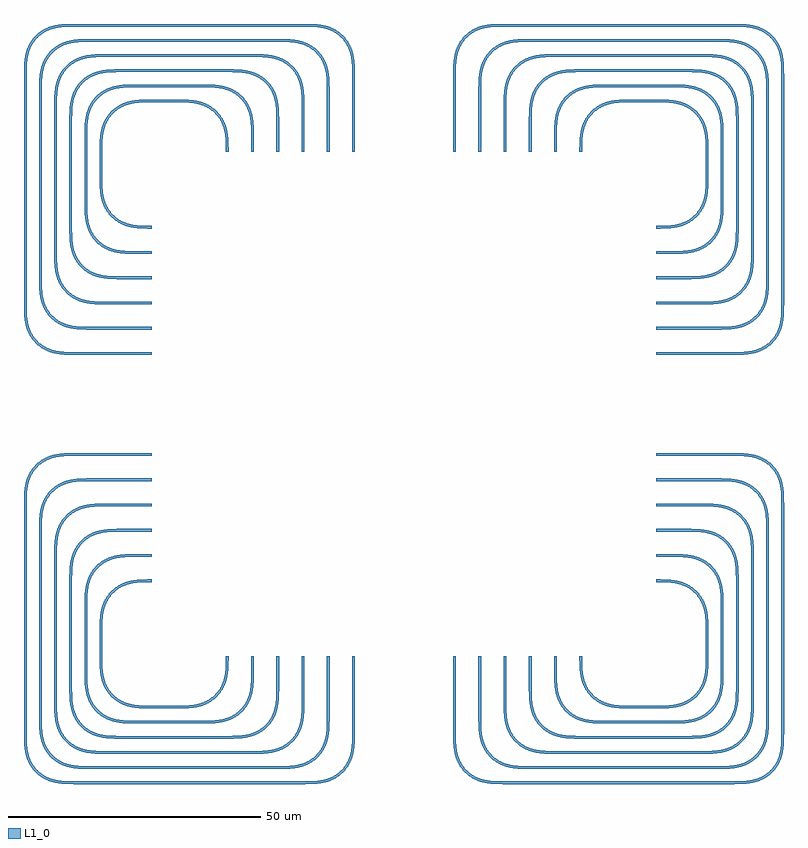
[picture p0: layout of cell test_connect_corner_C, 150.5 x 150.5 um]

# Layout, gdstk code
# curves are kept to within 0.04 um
from math import pi, radians
import gdstk
lib = gdstk.Library(unit=1e-6, precision=1e-09)
def R(c, l, rs):  # rectangles x0, y0, x1, y1
    for r in rs: c.add(gdstk.rectangle(r[:2], r[2:], *l))
def P(c, l, *ps):  # polygons
    for p in ps: c.add(gdstk.Polygon(p, *l))
L1_0 = (1, 0)

bend_euler_a459ac5d = lib.new_cell('bend_euler_a459ac5d')
P(bend_euler_a459ac5d, L1_0, [(0,-0.25),(2.795,-0.158),(3.776,-0.023),(4.746,0.203),(5.688,0.543),(6.455,0.934),(7.285,1.5),(7.928,2.072),(8.5,2.715),(9.066,3.545),(9.457,4.312),(9.797,5.254),(10.023,6.224),(10.158,7.205),(10.25,10),(9.75,10),(9.731,8.345),(9.647,7.119),(9.48,6.048),(9.194,5.01),(8.887,4.269),(8.495,3.569),(7.575,2.425),(6.431,1.505),(5.731,1.113),(4.99,0.806),(3.952,0.52),(2.881,0.353),(1.655,0.269),(0,0.25)])

straight_b69bcf2d = lib.new_cell('straight_b69bcf2d')
R(straight_b69bcf2d, L1_0, [(0,-0.25,0.01,0.25)])

straight_5d6ca0ab = lib.new_cell('straight_5d6ca0ab')
R(straight_5d6ca0ab, L1_0, [(0,-0.25,5.01,0.25)])

straight_cbee4e78 = lib.new_cell('straight_cbee4e78')
R(straight_cbee4e78, L1_0, [(0,-0.25,3,0.25)])

straight_1002eaf1 = lib.new_cell('straight_1002eaf1')
R(straight_1002eaf1, L1_0, [(0,-0.25,13,0.25)])

straight_c9864af1 = lib.new_cell('straight_c9864af1')
R(straight_c9864af1, L1_0, [(0,-0.25,6,0.25)])

straight_7e0a067a = lib.new_cell('straight_7e0a067a')
R(straight_7e0a067a, L1_0, [(0,-0.25,21,0.25)])

straight_9cb67bc3 = lib.new_cell('straight_9cb67bc3')
R(straight_9cb67bc3, L1_0, [(0,-0.25,9,0.25)])

straight_830dd4b5 = lib.new_cell('straight_830dd4b5')
R(straight_830dd4b5, L1_0, [(0,-0.25,29,0.25)])

straight_08b91cd9 = lib.new_cell('straight_08b91cd9')
R(straight_08b91cd9, L1_0, [(0,-0.25,12,0.25)])

straight_8c6ca3ea = lib.new_cell('straight_8c6ca3ea')
R(straight_8c6ca3ea, L1_0, [(0,-0.25,37,0.25)])

straight_cf6ed7cb = lib.new_cell('straight_cf6ed7cb')
R(straight_cf6ed7cb, L1_0, [(0,-0.25,15,0.25)])

straight_88bc8513 = lib.new_cell('straight_88bc8513')
R(straight_88bc8513, L1_0, [(0,-0.25,45,0.25)])

test_connect_corner_c = lib.new_cell('test_connect_corner_C')
test_connect_corner_c.add(gdstk.Reference(bend_euler_a459ac5d, (50.01,35)))
test_connect_corner_c.add(gdstk.Reference(bend_euler_a459ac5d, (60.01,50.01), rotation=pi/2))
test_connect_corner_c.add(gdstk.Reference(bend_euler_a459ac5d, (45,60.01), rotation=pi))
test_connect_corner_c.add(gdstk.Reference(straight_b69bcf2d, (50,35)))
test_connect_corner_c.add(gdstk.Reference(straight_5d6ca0ab, (60.01,45), rotation=pi/2))
test_connect_corner_c.add(gdstk.Reference(straight_5d6ca0ab, (50.01,60.01), rotation=pi))
test_connect_corner_c.add(gdstk.Reference(straight_b69bcf2d, (35,50.01), rotation=3*pi/2))
test_connect_corner_c.add(gdstk.Reference(bend_euler_a459ac5d, (53,30)))
test_connect_corner_c.add(gdstk.Reference(bend_euler_a459ac5d, (63,53), rotation=pi/2))
test_connect_corner_c.add(gdstk.Reference(bend_euler_a459ac5d, (40,63), rotation=pi))
test_connect_corner_c.add(gdstk.Reference(straight_cbee4e78, (50,30)))
test_connect_corner_c.add(gdstk.Reference(straight_1002eaf1, (63,40), rotation=pi/2))
test_connect_corner_c.add(gdstk.Reference(straight_1002eaf1, (53,63), rotation=pi))
test_connect_corner_c.add(gdstk.Reference(straight_cbee4e78, (30,53), rotation=3*pi/2))
test_connect_corner_c.add(gdstk.Reference(bend_euler_a459ac5d, (56,25)))
test_connect_corner_c.add(gdstk.Reference(bend_euler_a459ac5d, (66,56), rotation=pi/2))
test_connect_corner_c.add(gdstk.Reference(bend_euler_a459ac5d, (35,66), rotation=pi))
test_connect_corner_c.add(gdstk.Reference(straight_c9864af1, (50,25)))
test_connect_corner_c.add(gdstk.Reference(straight_7e0a067a, (66,35), rotation=pi/2))
test_connect_corner_c.add(gdstk.Reference(straight_7e0a067a, (56,66), rotation=pi))
test_connect_corner_c.add(gdstk.Reference(straight_c9864af1, (25,56), rotation=3*pi/2))
test_connect_corner_c.add(gdstk.Reference(bend_euler_a459ac5d, (59,20)))
test_connect_corner_c.add(gdstk.Reference(bend_euler_a459ac5d, (69,59), rotation=pi/2))
test_connect_corner_c.add(gdstk.Reference(bend_euler_a459ac5d, (30,69), rotation=pi))
test_connect_corner_c.add(gdstk.Reference(straight_9cb67bc3, (50,20)))
test_connect_corner_c.add(gdstk.Reference(straight_830dd4b5, (69,30), rotation=pi/2))
test_connect_corner_c.add(gdstk.Reference(straight_830dd4b5, (59,69), rotation=pi))
test_connect_corner_c.add(gdstk.Reference(straight_9cb67bc3, (20,59), rotation=3*pi/2))
test_connect_corner_c.add(gdstk.Reference(bend_euler_a459ac5d, (62,15)))
test_connect_corner_c.add(gdstk.Reference(bend_euler_a459ac5d, (72,62), rotation=pi/2))
test_connect_corner_c.add(gdstk.Reference(bend_euler_a459ac5d, (25,72), rotation=pi))
test_connect_corner_c.add(gdstk.Reference(straight_08b91cd9, (50,15)))
test_connect_corner_c.add(gdstk.Reference(straight_8c6ca3ea, (72,25), rotation=pi/2))
test_connect_corner_c.add(gdstk.Reference(straight_8c6ca3ea, (62,72), rotation=pi))
test_connect_corner_c.add(gdstk.Reference(straight_08b91cd9, (15,62), rotation=3*pi/2))
test_connect_corner_c.add(gdstk.Reference(bend_euler_a459ac5d, (65,10)))
test_connect_corner_c.add(gdstk.Reference(bend_euler_a459ac5d, (75,65), rotation=pi/2))
test_connect_corner_c.add(gdstk.Reference(bend_euler_a459ac5d, (20,75), rotation=pi))
test_connect_corner_c.add(gdstk.Reference(straight_cf6ed7cb, (50,10)))
test_connect_corner_c.add(gdstk.Reference(straight_88bc8513, (75,20), rotation=pi/2))
test_connect_corner_c.add(gdstk.Reference(straight_88bc8513, (65,75), rotation=pi))
test_connect_corner_c.add(gdstk.Reference(straight_cf6ed7cb, (10,65), rotation=3*pi/2))
test_connect_corner_c.add(gdstk.Reference(bend_euler_a459ac5d, (-50.01,35), rotation=pi, x_reflection=True))
test_connect_corner_c.add(gdstk.Reference(bend_euler_a459ac5d, (-60.01,50.01), rotation=pi/2, x_reflection=True))
test_connect_corner_c.add(gdstk.Reference(bend_euler_a459ac5d, (-45,60.01), x_reflection=True))
test_connect_corner_c.add(gdstk.Reference(straight_b69bcf2d, (-50,35), rotation=pi))
test_connect_corner_c.add(gdstk.Reference(straight_5d6ca0ab, (-60.01,45), rotation=pi/2))
test_connect_corner_c.add(gdstk.Reference(straight_5d6ca0ab, (-50.01,60.01)))
test_connect_corner_c.add(gdstk.Reference(straight_b69bcf2d, (-35,50.01), rotation=3*pi/2))
test_connect_corner_c.add(gdstk.Reference(bend_euler_a459ac5d, (-53,30), rotation=pi, x_reflection=True))
test_connect_corner_c.add(gdstk.Reference(bend_euler_a459ac5d, (-63,53), rotation=pi/2, x_reflection=True))
test_connect_corner_c.add(gdstk.Reference(bend_euler_a459ac5d, (-40,63), x_reflection=True))
test_connect_corner_c.add(gdstk.Reference(straight_cbee4e78, (-50,30), rotation=pi))
test_connect_corner_c.add(gdstk.Reference(straight_1002eaf1, (-63,40), rotation=pi/2))
test_connect_corner_c.add(gdstk.Reference(straight_1002eaf1, (-53,63)))
test_connect_corner_c.add(gdstk.Reference(straight_cbee4e78, (-30,53), rotation=3*pi/2))
test_connect_corner_c.add(gdstk.Reference(bend_euler_a459ac5d, (-56,25), rotation=pi, x_reflection=True))
test_connect_corner_c.add(gdstk.Reference(bend_euler_a459ac5d, (-66,56), rotation=pi/2, x_reflection=True))
test_connect_corner_c.add(gdstk.Reference(bend_euler_a459ac5d, (-35,66), x_reflection=True))
test_connect_corner_c.add(gdstk.Reference(straight_c9864af1, (-50,25), rotation=pi))
test_connect_corner_c.add(gdstk.Reference(straight_7e0a067a, (-66,35), rotation=pi/2))
test_connect_corner_c.add(gdstk.Reference(straight_7e0a067a, (-56,66)))
test_connect_corner_c.add(gdstk.Reference(straight_c9864af1, (-25,56), rotation=3*pi/2))
test_connect_corner_c.add(gdstk.Reference(bend_euler_a459ac5d, (-59,20), rotation=pi, x_reflection=True))
test_connect_corner_c.add(gdstk.Reference(bend_euler_a459ac5d, (-69,59), rotation=pi/2, x_reflection=True))
test_connect_corner_c.add(gdstk.Reference(bend_euler_a459ac5d, (-30,69), x_reflection=True))
test_connect_corner_c.add(gdstk.Reference(straight_9cb67bc3, (-50,20), rotation=pi))
test_connect_corner_c.add(gdstk.Reference(straight_830dd4b5, (-69,30), rotation=pi/2))
test_connect_corner_c.add(gdstk.Reference(straight_830dd4b5, (-59,69)))
test_connect_corner_c.add(gdstk.Reference(straight_9cb67bc3, (-20,59), rotation=3*pi/2))
test_connect_corner_c.add(gdstk.Reference(bend_euler_a459ac5d, (-62,15), rotation=pi, x_reflection=True))
test_connect_corner_c.add(gdstk.Reference(bend_euler_a459ac5d, (-72,62), rotation=pi/2, x_reflection=True))
test_connect_corner_c.add(gdstk.Reference(bend_euler_a459ac5d, (-25,72), x_reflection=True))
test_connect_corner_c.add(gdstk.Reference(straight_08b91cd9, (-50,15), rotation=pi))
test_connect_corner_c.add(gdstk.Reference(straight_8c6ca3ea, (-72,25), rotation=pi/2))
test_connect_corner_c.add(gdstk.Reference(straight_8c6ca3ea, (-62,72)))
test_connect_corner_c.add(gdstk.Reference(straight_08b91cd9, (-15,62), rotation=3*pi/2))
test_connect_corner_c.add(gdstk.Reference(bend_euler_a459ac5d, (-65,10), rotation=pi, x_reflection=True))
test_connect_corner_c.add(gdstk.Reference(bend_euler_a459ac5d, (-75,65), rotation=pi/2, x_reflection=True))
test_connect_corner_c.add(gdstk.Reference(bend_euler_a459ac5d, (-20,75), x_reflection=True))
test_connect_corner_c.add(gdstk.Reference(straight_cf6ed7cb, (-50,10), rotation=pi))
test_connect_corner_c.add(gdstk.Reference(straight_88bc8513, (-75,20), rotation=pi/2))
test_connect_corner_c.add(gdstk.Reference(straight_88bc8513, (-65,75)))
test_connect_corner_c.add(gdstk.Reference(straight_cf6ed7cb, (-10,65), rotation=3*pi/2))
test_connect_corner_c.add(gdstk.Reference(bend_euler_a459ac5d, (50.01,-35), x_reflection=True))
test_connect_corner_c.add(gdstk.Reference(bend_euler_a459ac5d, (60.01,-50.01), rotation=3*pi/2, x_reflection=True))
test_connect_corner_c.add(gdstk.Reference(bend_euler_a459ac5d, (45,-60.01), rotation=pi, x_reflection=True))
test_connect_corner_c.add(gdstk.Reference(straight_b69bcf2d, (50,-35)))
test_connect_corner_c.add(gdstk.Reference(straight_5d6ca0ab, (60.01,-45), rotation=3*pi/2))
test_connect_corner_c.add(gdstk.Reference(straight_5d6ca0ab, (50.01,-60.01), rotation=pi))
test_connect_corner_c.add(gdstk.Reference(straight_b69bcf2d, (35,-50.01), rotation=pi/2))
test_connect_corner_c.add(gdstk.Reference(bend_euler_a459ac5d, (53,-30), x_reflection=True))
test_connect_corner_c.add(gdstk.Reference(bend_euler_a459ac5d, (63,-53), rotation=3*pi/2, x_reflection=True))
test_connect_corner_c.add(gdstk.Reference(bend_euler_a459ac5d, (40,-63), rotation=pi, x_reflection=True))
test_connect_corner_c.add(gdstk.Reference(straight_cbee4e78, (50,-30)))
test_connect_corner_c.add(gdstk.Reference(straight_1002eaf1, (63,-40), rotation=3*pi/2))
test_connect_corner_c.add(gdstk.Reference(straight_1002eaf1, (53,-63), rotation=pi))
test_connect_corner_c.add(gdstk.Reference(straight_cbee4e78, (30,-53), rotation=pi/2))
test_connect_corner_c.add(gdstk.Reference(bend_euler_a459ac5d, (56,-25), x_reflection=True))
test_connect_corner_c.add(gdstk.Reference(bend_euler_a459ac5d, (66,-56), rotation=3*pi/2, x_reflection=True))
test_connect_corner_c.add(gdstk.Reference(bend_euler_a459ac5d, (35,-66), rotation=pi, x_reflection=True))
test_connect_corner_c.add(gdstk.Reference(straight_c9864af1, (50,-25)))
test_connect_corner_c.add(gdstk.Reference(straight_7e0a067a, (66,-35), rotation=3*pi/2))
test_connect_corner_c.add(gdstk.Reference(straight_7e0a067a, (56,-66), rotation=pi))
test_connect_corner_c.add(gdstk.Reference(straight_c9864af1, (25,-56), rotation=pi/2))
test_connect_corner_c.add(gdstk.Reference(bend_euler_a459ac5d, (59,-20), x_reflection=True))
test_connect_corner_c.add(gdstk.Reference(bend_euler_a459ac5d, (69,-59), rotation=3*pi/2, x_reflection=True))
test_connect_corner_c.add(gdstk.Reference(bend_euler_a459ac5d, (30,-69), rotation=pi, x_reflection=True))
test_connect_corner_c.add(gdstk.Reference(straight_9cb67bc3, (50,-20)))
test_connect_corner_c.add(gdstk.Reference(straight_830dd4b5, (69,-30), rotation=3*pi/2))
test_connect_corner_c.add(gdstk.Reference(straight_830dd4b5, (59,-69), rotation=pi))
test_connect_corner_c.add(gdstk.Reference(straight_9cb67bc3, (20,-59), rotation=pi/2))
test_connect_corner_c.add(gdstk.Reference(bend_euler_a459ac5d, (62,-15), x_reflection=True))
test_connect_corner_c.add(gdstk.Reference(bend_euler_a459ac5d, (72,-62), rotation=3*pi/2, x_reflection=True))
test_connect_corner_c.add(gdstk.Reference(bend_euler_a459ac5d, (25,-72), rotation=pi, x_reflection=True))
test_connect_corner_c.add(gdstk.Reference(straight_08b91cd9, (50,-15)))
test_connect_corner_c.add(gdstk.Reference(straight_8c6ca3ea, (72,-25), rotation=3*pi/2))
test_connect_corner_c.add(gdstk.Reference(straight_8c6ca3ea, (62,-72), rotation=pi))
test_connect_corner_c.add(gdstk.Reference(straight_08b91cd9, (15,-62), rotation=pi/2))
test_connect_corner_c.add(gdstk.Reference(bend_euler_a459ac5d, (65,-10), x_reflection=True))
test_connect_corner_c.add(gdstk.Reference(bend_euler_a459ac5d, (75,-65), rotation=3*pi/2, x_reflection=True))
test_connect_corner_c.add(gdstk.Reference(bend_euler_a459ac5d, (20,-75), rotation=pi, x_reflection=True))
test_connect_corner_c.add(gdstk.Reference(straight_cf6ed7cb, (50,-10)))
test_connect_corner_c.add(gdstk.Reference(straight_88bc8513, (75,-20), rotation=3*pi/2))
test_connect_corner_c.add(gdstk.Reference(straight_88bc8513, (65,-75), rotation=pi))
test_connect_corner_c.add(gdstk.Reference(straight_cf6ed7cb, (10,-65), rotation=pi/2))
test_connect_corner_c.add(gdstk.Reference(bend_euler_a459ac5d, (-50.01,-35), rotation=pi))
test_connect_corner_c.add(gdstk.Reference(bend_euler_a459ac5d, (-60.01,-50.01), rotation=3*pi/2))
test_connect_corner_c.add(gdstk.Reference(bend_euler_a459ac5d, (-45,-60.01)))
test_connect_corner_c.add(gdstk.Reference(straight_b69bcf2d, (-50,-35), rotation=pi))
test_connect_corner_c.add(gdstk.Reference(straight_5d6ca0ab, (-60.01,-45), rotation=3*pi/2))
test_connect_corner_c.add(gdstk.Reference(straight_5d6ca0ab, (-50.01,-60.01)))
test_connect_corner_c.add(gdstk.Reference(straight_b69bcf2d, (-35,-50.01), rotation=pi/2))
test_connect_corner_c.add(gdstk.Reference(bend_euler_a459ac5d, (-53,-30), rotation=pi))
test_connect_corner_c.add(gdstk.Reference(bend_euler_a459ac5d, (-63,-53), rotation=3*pi/2))
test_connect_corner_c.add(gdstk.Reference(bend_euler_a459ac5d, (-40,-63)))
test_connect_corner_c.add(gdstk.Reference(straight_cbee4e78, (-50,-30), rotation=pi))
test_connect_corner_c.add(gdstk.Reference(straight_1002eaf1, (-63,-40), rotation=3*pi/2))
test_connect_corner_c.add(gdstk.Reference(straight_1002eaf1, (-53,-63)))
test_connect_corner_c.add(gdstk.Reference(straight_cbee4e78, (-30,-53), rotation=pi/2))
test_connect_corner_c.add(gdstk.Reference(bend_euler_a459ac5d, (-56,-25), rotation=pi))
test_connect_corner_c.add(gdstk.Reference(bend_euler_a459ac5d, (-66,-56), rotation=3*pi/2))
test_connect_corner_c.add(gdstk.Reference(bend_euler_a459ac5d, (-35,-66)))
test_connect_corner_c.add(gdstk.Reference(straight_c9864af1, (-50,-25), rotation=pi))
test_connect_corner_c.add(gdstk.Reference(straight_7e0a067a, (-66,-35), rotation=3*pi/2))
test_connect_corner_c.add(gdstk.Reference(straight_7e0a067a, (-56,-66)))
test_connect_corner_c.add(gdstk.Reference(straight_c9864af1, (-25,-56), rotation=pi/2))
test_connect_corner_c.add(gdstk.Reference(bend_euler_a459ac5d, (-59,-20), rotation=pi))
test_connect_corner_c.add(gdstk.Reference(bend_euler_a459ac5d, (-69,-59), rotation=3*pi/2))
test_connect_corner_c.add(gdstk.Reference(bend_euler_a459ac5d, (-30,-69)))
test_connect_corner_c.add(gdstk.Reference(straight_9cb67bc3, (-50,-20), rotation=pi))
test_connect_corner_c.add(gdstk.Reference(straight_830dd4b5, (-69,-30), rotation=3*pi/2))
test_connect_corner_c.add(gdstk.Reference(straight_830dd4b5, (-59,-69)))
test_connect_corner_c.add(gdstk.Reference(straight_9cb67bc3, (-20,-59), rotation=pi/2))
test_connect_corner_c.add(gdstk.Reference(bend_euler_a459ac5d, (-62,-15), rotation=pi))
test_connect_corner_c.add(gdstk.Reference(bend_euler_a459ac5d, (-72,-62), rotation=3*pi/2))
test_connect_corner_c.add(gdstk.Reference(bend_euler_a459ac5d, (-25,-72)))
test_connect_corner_c.add(gdstk.Reference(straight_08b91cd9, (-50,-15), rotation=pi))
test_connect_corner_c.add(gdstk.Reference(straight_8c6ca3ea, (-72,-25), rotation=3*pi/2))
test_connect_corner_c.add(gdstk.Reference(straight_8c6ca3ea, (-62,-72)))
test_connect_corner_c.add(gdstk.Reference(straight_08b91cd9, (-15,-62), rotation=pi/2))
test_connect_corner_c.add(gdstk.Reference(bend_euler_a459ac5d, (-65,-10), rotation=pi))
test_connect_corner_c.add(gdstk.Reference(bend_euler_a459ac5d, (-75,-65), rotation=3*pi/2))
test_connect_corner_c.add(gdstk.Reference(bend_euler_a459ac5d, (-20,-75)))
test_connect_corner_c.add(gdstk.Reference(straight_cf6ed7cb, (-50,-10), rotation=pi))
test_connect_corner_c.add(gdstk.Reference(straight_88bc8513, (-75,-20), rotation=3*pi/2))
test_connect_corner_c.add(gdstk.Reference(straight_88bc8513, (-65,-75)))
test_connect_corner_c.add(gdstk.Reference(straight_cf6ed7cb, (-10,-65), rotation=pi/2))

lib.write_gds('test_connect_corner_C.gds')
